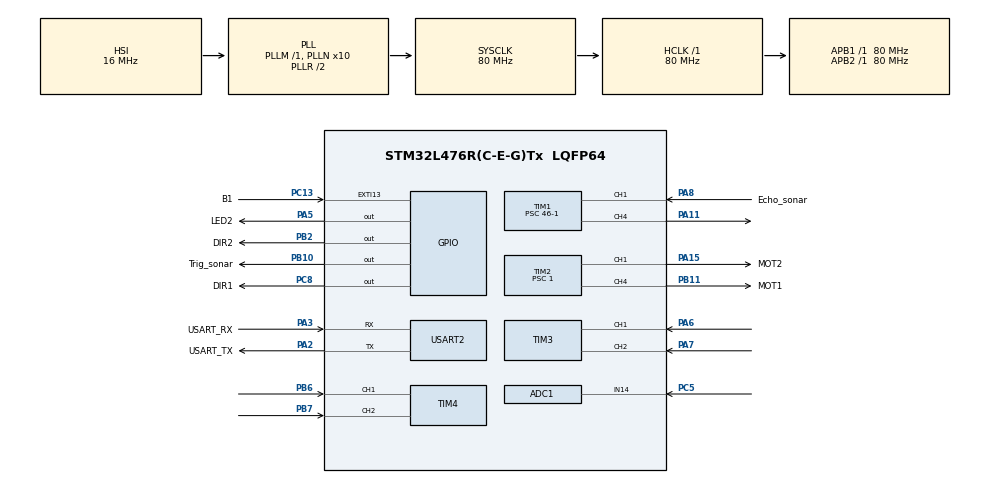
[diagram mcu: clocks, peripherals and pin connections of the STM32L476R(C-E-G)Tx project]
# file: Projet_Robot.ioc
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ADC1.Channel-1\#ChannelRegularConversion=ADC_CHANNEL_14
ADC1.NbrOfConversionFlag=1
ADC1.OffsetNumber-1\#ChannelRegularConversion=ADC_OFFSET_NONE
ADC1.Rank-1\#ChannelRegularConversion=1
ADC1.SamplingTime-1\#ChannelRegularConversion=ADC_SAMPLETIME_2CYCLES_5
ADC1.master=1
Mcu.Family=STM32L4
Mcu.Name=STM32L476R(C-E-G)Tx
Mcu.Package=LQFP64
NVIC.ADC1_2_IRQn=true\:0\:0\:false\:false\:true\:true\:true\:true
NVIC.EXTI15_10_IRQn=true\:0\:0\:false\:false\:true\:true\:true\:true
NVIC.PriorityGroup=NVIC_PRIORITYGROUP_4
NVIC.TIM1_CC_IRQn=true\:0\:0\:false\:false\:true\:true\:true\:true
NVIC.TIM6_DAC_IRQn=true\:0\:0\:false\:false\:true\:true\:true\:true
PA11.Signal=S_TIM1_CH4
PA13\ (JTMS-SWDIO).GPIO_Label=TMS
PA13\ (JTMS-SWDIO).Mode=Serial_Wire
PA13\ (JTMS-SWDIO).Signal=SYS_JTMS-SWDIO
PA14\ (JTCK-SWCLK).GPIO_Label=TCK
PA14\ (JTCK-SWCLK).Mode=Serial_Wire
PA14\ (JTCK-SWCLK).Signal=SYS_JTCK-SWCLK
PA15\ (JTDI).GPIO_Label=MOT2
PA15\ (JTDI).Signal=S_TIM2_CH1
PA2.GPIO_Label=USART_TX
PA2.GPIO_Mode=GPIO_MODE_AF_PP
PA2.GPIO_PuPd=GPIO_NOPULL
PA2.GPIO_Speed=GPIO_SPEED_FREQ_VERY_HIGH
PA2.Mode=Asynchronous
PA2.Signal=USART2_TX
PA3.GPIO_Label=USART_RX
PA3.GPIO_Mode=GPIO_MODE_AF_PP
PA3.GPIO_PuPd=GPIO_NOPULL
PA3.GPIO_Speed=GPIO_SPEED_FREQ_VERY_HIGH
PA3.Mode=Asynchronous
PA3.Signal=USART2_RX
PA5.GPIO_Label=LED2 
PA5.GPIO_ModeDefaultOutputPP=GPIO_MODE_OUTPUT_PP
PA5.GPIO_PuPd=GPIO_NOPULL
PA5.GPIO_Speed=GPIO_SPEED_FREQ_LOW
PA5.Signal=GPIO_Output
PA6.Signal=S_TIM3_CH1
PA7.Signal=S_TIM3_CH2
PA8.GPIO_Label=Echo_sonar
PA8.Signal=S_TIM1_CH1
PB10.GPIO_Label=Trig_sonar
PB10.PinState=GPIO_PIN_SET
PB10.Signal=GPIO_Output
PB11.GPIO_Label=MOT1
PB11.Signal=S_TIM2_CH4
PB2.GPIO_Label=DIR2
PB2.Signal=GPIO_Output
PB3\ (JTDO-TRACESWO).GPIO_Label=SWO
PB3\ (JTDO-TRACESWO).Signal=SYS_JTDO-SWO
PB6.Signal=S_TIM4_CH1
PB7.Signal=S_TIM4_CH2
PC13.GPIO_Label=B1
PC13.GPIO_ModeDefaultEXTI=GPIO_MODE_IT_FALLING
PC13.GPIO_PuPd=GPIO_NOPULL
PC13.Signal=GPXTI13
PC14-OSC32_IN\ (PC14).Mode=LSE-External-Oscillator
PC14-OSC32_IN\ (PC14).Signal=RCC_OSC32_IN
PC15-OSC32_OUT\ (PC15).Mode=LSE-External-Oscillator
PC15-OSC32_OUT\ (PC15).Signal=RCC_OSC32_OUT
PC5.Signal=ADCx_IN14
PC8.GPIO_Label=DIR1
PC8.Signal=GPIO_Output
PH0-OSC_IN\ (PH0).Signal=RCC_OSC_IN
PH1-OSC_OUT\ (PH1).Signal=RCC_OSC_OUT
ProjectManager.HeapSize=0x200
ProjectManager.StackSize=0x400
ProjectManager.TargetToolchain=STM32CubeIDE
RCC.ADCFreq_Value=64000000
RCC.AHBFreq_Value=80000000
RCC.APB1Freq_Value=80000000
RCC.APB1TimFreq_Value=80000000
RCC.APB2Freq_Value=80000000
RCC.APB2TimFreq_Value=80000000
RCC.CortexFreq_Value=80000000
RCC.HCLKFreq_Value=80000000
RCC.HSE_VALUE=8000000
RCC.HSI_VALUE=16000000
RCC.MSI_VALUE=4000000
RCC.PLLN=10
RCC.PLLSourceVirtual=RCC_PLLSOURCE_HSI
RCC.PREFETCH_ENABLE=1
RCC.SYSCLKFreq_VALUE=80000000
RCC.SYSCLKSource=RCC_SYSCLKSOURCE_PLLCLK
RCC.USBFreq_Value=64000000
RCC.VCOOutputFreq_Value=160000000
SH.ADCx_IN14.0=ADC1_IN14,IN14-Single-Ended
SH.S_TIM1_CH1.0=TIM1_CH1,PWM_Input_1
SH.S_TIM1_CH4.0=TIM1_CH4,PWM Generation4 CH4
SH.S_TIM2_CH1.0=TIM2_CH1,PWM Generation1 CH1
SH.S_TIM2_CH4.0=TIM2_CH4,PWM Generation4 CH4
SH.S_TIM3_CH1.0=TIM3_CH1,Input_Capture1_from_TI1
SH.S_TIM3_CH2.0=TIM3_CH2,Input_Capture2_from_TI2
SH.S_TIM4_CH1.0=TIM4_CH1,Input_Capture1_from_TI1
SH.S_TIM4_CH2.0=TIM4_CH2,Input_Capture2_from_TI2
TIM1.Channel-PWM\ Generation4\ CH4=TIM_CHANNEL_4
TIM1.Prescaler=46-1
TIM2.Channel-PWM\ Generation1\ CH1=TIM_CHANNEL_1
TIM2.Channel-PWM\ Generation4\ CH4=TIM_CHANNEL_4
TIM2.Period=7999
TIM2.Prescaler=1
TIM3.Channel-Input_Capture1_from_TI1=TIM_CHANNEL_1
TIM3.Channel-Input_Capture2_from_TI2=TIM_CHANNEL_2
TIM4.Channel-Input_Capture1_from_TI1=TIM_CHANNEL_1
TIM4.Channel-Input_Capture2_from_TI2=TIM_CHANNEL_2
TIM6.Period=999
TIM6.Prescaler=7999
USART2.VirtualMode-Asynchronous=VM_ASYNC
VP_TIM1_VS_ClockSourceINT.Mode=Internal
VP_TIM2_VS_ClockSourceINT.Mode=Internal
VP_TIM6_VS_ClockSourceINT.Mode=Enable_Timer
board=NUCLEO-L476RG

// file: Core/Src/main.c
/* USER CODE BEGIN Header */
/**
  ******************************************************************************
  * @file           : main.c
  * @brief          : Main program body
  ******************************************************************************
  * @attention
  *
  * Copyright (c) 2024 STMicroelectronics.
  * All rights reserved.
  *
  * This software is licensed under terms that can be found in the LICENSE file
  * in the root directory of this software component.
  * If no LICENSE file comes with this software, it is provided AS-IS.
  *
  ******************************************************************************
  */
/* USER CODE END Header */
#include "main.h"

/* USER CODE BEGIN Includes */
#include "stdio.h"
#include "string.h"

/* USER CODE END Includes */

/* USER CODE BEGIN PD */
#define ADC_Max_Value 255
/* USER CODE END PD */

ADC_HandleTypeDef hadc1;

TIM_HandleTypeDef htim1;
TIM_HandleTypeDef htim2;
TIM_HandleTypeDef htim3;
TIM_HandleTypeDef htim4;
TIM_HandleTypeDef htim6;

UART_HandleTypeDef huart2;

/* USER CODE BEGIN PV */
volatile uint8_t T_batt = 0;
volatile uint8_t ADCValue;
volatile float batteryVoltage = 0.0f;
volatile uint8_t ADC_on = 0;
float Vbatt;
#define NB_CHAR 30
char msg[NB_CHAR];

volatile uint8_t battery_check_flag = 0;

volatile uint32_t ic_value1 = 0;
volatile uint32_t ic_value2 = 0;
volatile uint8_t is_first_capture = 0;
volatile float sonar_distance = 0.0;
volatile uint8_t sonar_read_flag = 0;
volatile uint32_t diff = 0;

volatile uint8_t commut = 0;

const float quantum = 8.0/256.0;

typedef enum {
    STATE_IDLE,
    STATE_TURNING,
    STATE_MOVING_TOWARDS_OBSTACLE
} RobotState;

volatile RobotState currentState = STATE_IDLE;

/* USER CODE END PV */

void SystemClock_Config(void);
static void MX_GPIO_Init(void);
static void MX_USART2_UART_Init(void);
static void MX_ADC1_Init(void);
static void MX_TIM1_Init(void);
static void MX_TIM2_Init(void);
static void MX_TIM3_Init(void);
static void MX_TIM4_Init(void);
static void MX_TIM6_Init(void);
/* USER CODE BEGIN PFP */

void HAL_TIM_IC_CaptureCallback(TIM_HandleTypeDef *htim);
float Read_Sonar_Distance(void);

void HAL_TIM_PeriodElapsedCallback(TIM_HandleTypeDef *htim);
void HAL_GPIO_EXTI_Callback(uint16_t GPIO_Pin);
void AlignWithObstacle(void);
void StartTurning(void);
void StopMotors(void);

//void HAL_ADC_LevelOutOfWindowCallback(ADC_HandleTypeDef *hadc1);
//void send_data_to_uart(float battery);
/* USER CODE END PFP */

int main(void)
{
  /* USER CODE BEGIN 1 */
	const float quantum = 8.0/256.0;

  /* USER CODE END 1 */

  /* MCU Configuration--------------------------------------------------------*/

  /* Reset of all peripherals, Initializes the Flash interface and the Systick. */
  HAL_Init();

  /* Configure the system clock */
  SystemClock_Config();

  /* Initialize all configured peripherals */
  MX_GPIO_Init();
  MX_USART2_UART_Init();
  MX_ADC1_Init();
  MX_TIM1_Init();
  MX_TIM2_Init();
  MX_TIM3_Init();
  MX_TIM4_Init();
  MX_TIM6_Init();
  /* USER CODE BEGIN 2 */

  HAL_TIM_Base_Start_IT(&htim6);
  HAL_TIM_IC_Start_IT(&htim1, TIM_CHANNEL_1); // Capture front montant
  HAL_TIM_IC_Start_IT(&htim1, TIM_CHANNEL_2); // Capture front descendant

  HAL_TIM_PWM_Start(&htim2, TIM_CHANNEL_1); // PWM pour MOT2 (gauche)
  HAL_TIM_PWM_Start(&htim2, TIM_CHANNEL_4); // PWM pour MOT1 (droit)

  HAL_GPIO_WritePin(GPIOB, GPIO_PIN_2, GPIO_PIN_SET); // DIR2
  HAL_GPIO_WritePin(GPIOC, GPIO_PIN_8, GPIO_PIN_SET); // DIR1

  __HAL_TIM_SET_COMPARE(&htim2, TIM_CHANNEL_1, 0); // Stop MOT2 (gauche)
  __HAL_TIM_SET_COMPARE(&htim2, TIM_CHANNEL_4, 0); // Stop MOT1 (droit)
  /*

  //moteur en marche
  HAL_TIM_PWM_Start(&htim2, TIM_CHANNEL_1); // PWM pour MOT2 (gauche)
  HAL_TIM_PWM_Start(&htim2, TIM_CHANNEL_4); // PWM pour MOT1 (droit)

  // Configurer les directions des moteurs pour avancer
  HAL_GPIO_WritePin(GPIOB, GPIO_PIN_2, GPIO_PIN_SET); // DIR2
  HAL_GPIO_WritePin(GPIOC, GPIO_PIN_8, GPIO_PIN_SET); // DIR1

  // Configurer le rapport cyclique (duty cycle) pour les moteurs
  //avec ces valeur j'ai exacement 20cm/s, il faut prendre en compte les valeurs PR = 15  et ARR = 1000
  __HAL_TIM_SET_COMPARE(&htim2, TIM_CHANNEL_1, 19000);	//Moteur gauche
  __HAL_TIM_SET_COMPARE(&htim2, TIM_CHANNEL_4, 15000); //moteur droit

*/
  /* USER CODE END 2 */

  /* Infinite loop */
  /* USER CODE BEGIN WHILE */
  while (1)
    {
	  switch (currentState)
	      {
	          case STATE_TURNING:
	              if (sonar_read_flag)
	              {
	                  sonar_read_flag = 0;
	                  float distance = Read_Sonar_Distance();
	                  if (distance <= 300.0)
	                  {
	                      StopMotors();
	                      AlignWithObstacle();
	                      currentState = STATE_MOVING_TOWARDS_OBSTACLE;
	                  }
	              }
	              break;

	          case STATE_MOVING_TOWARDS_OBSTACLE:
	              if (sonar_read_flag)
	              {
	                  sonar_read_flag = 0;
	                  float distance = Read_Sonar_Distance();
	                  if (distance <= 40.0)
	                  {
	                      StopMotors();
	                      printf("Arrêt à 20 cm de l'obstacle\n");
	                      commut = 0; // Arrêter le robot
	                      currentState = STATE_IDLE;
	                  }
	              }
	              break;

	          case STATE_IDLE:
	          default:
	              // Do nothing
	              break;
	      }

	      // Surveillance de la batterie
	      if (battery_check_flag)
	      {
	          battery_check_flag = 0;
	          HAL_ADC_Start_IT(&hadc1);
	      }

	      if (ADC_on == 1)
	      {
	          ADC_on = 0;
	          ADCValue = HAL_ADC_GetValue(&hadc1);
	          Vbatt = (float)ADCValue * quantum;

	          #ifdef DEBUG
	          sprintf(msg, "Vbatt : %f V\r\n", Vbatt);
	          HAL_UART_Transmit(&huart2, (uint8_t *)msg, strlen(msg), HAL_MAX_DELAY);
	          #endif

	          if (ADCValue > 231)
	          {
	              HAL_GPIO_WritePin(LED2_GPIO_Port, LED2_Pin, GPIO_PIN_RESET);
	          }
	          else
	          {
	              HAL_GPIO_WritePin(LED2_GPIO_Port, LED2_Pin, GPIO_PIN_SET);
	          }
	      }

    /* USER CODE END WHILE */

}
}

void SystemClock_Config(void)
{
  RCC_OscInitTypeDef RCC_OscInitStruct = {0};
  RCC_ClkInitTypeDef RCC_ClkInitStruct = {0};

  /** Configure the main internal regulator output voltage
  */
  if (HAL_PWREx_ControlVoltageScaling(PWR_REGULATOR_VOLTAGE_SCALE1) != HAL_OK)
  {
    Error_Handler();
  }

  /** Initializes the RCC Oscillators according to the specified parameters
  * in the RCC_OscInitTypeDef structure.
  */
  RCC_OscInitStruct.OscillatorType = RCC_OSCILLATORTYPE_HSI;
  RCC_OscInitStruct.HSIState = RCC_HSI_ON;
  RCC_OscInitStruct.HSICalibrationValue = RCC_HSICALIBRATION_DEFAULT;
  RCC_OscInitStruct.PLL.PLLState = RCC_PLL_ON;
  RCC_OscInitStruct.PLL.PLLSource = RCC_PLLSOURCE_HSI;
  RCC_OscInitStruct.PLL.PLLM = 1;
  RCC_OscInitStruct.PLL.PLLN = 10;
  RCC_OscInitStruct.PLL.PLLP = RCC_PLLP_DIV7;
  RCC_OscInitStruct.PLL.PLLQ = RCC_PLLQ_DIV2;
  RCC_OscInitStruct.PLL.PLLR = RCC_PLLR_DIV2;
  if (HAL_RCC_OscConfig(&RCC_OscInitStruct) != HAL_OK)
  {
    Error_Handler();
  }

  /** Initializes the CPU, AHB and APB buses clocks
  */
  RCC_ClkInitStruct.ClockType = RCC_CLOCKTYPE_HCLK|RCC_CLOCKTYPE_SYSCLK
                              |RCC_CLOCKTYPE_PCLK1|RCC_CLOCKTYPE_PCLK2;
  RCC_ClkInitStruct.SYSCLKSource = RCC_SYSCLKSOURCE_PLLCLK;
  RCC_ClkInitStruct.AHBCLKDivider = RCC_SYSCLK_DIV1;
  RCC_ClkInitStruct.APB1CLKDivider = RCC_HCLK_DIV1;
  RCC_ClkInitStruct.APB2CLKDivider = RCC_HCLK_DIV1;

  if (HAL_RCC_ClockConfig(&RCC_ClkInitStruct, FLASH_LATENCY_4) != HAL_OK)
  {
    Error_Handler();
  }
}

static void MX_ADC1_Init(void)
{

  ADC_MultiModeTypeDef multimode = {0};
  ADC_ChannelConfTypeDef sConfig = {0};

  /** Common config
  */
  hadc1.Instance = ADC1;
  hadc1.Init.ClockPrescaler = ADC_CLOCK_ASYNC_DIV1;
  hadc1.Init.Resolution = ADC_RESOLUTION_12B;
  hadc1.Init.DataAlign = ADC_DATAALIGN_RIGHT;
  hadc1.Init.ScanConvMode = ADC_SCAN_DISABLE;
  hadc1.Init.EOCSelection = ADC_EOC_SINGLE_CONV;
  hadc1.Init.LowPowerAutoWait = DISABLE;
  hadc1.Init.ContinuousConvMode = DISABLE;
  hadc1.Init.NbrOfConversion = 1;
  hadc1.Init.DiscontinuousConvMode = DISABLE;
  hadc1.Init.ExternalTrigConv = ADC_SOFTWARE_START;
  hadc1.Init.ExternalTrigConvEdge = ADC_EXTERNALTRIGCONVEDGE_NONE;
  hadc1.Init.DMAContinuousRequests = DISABLE;
  hadc1.Init.Overrun = ADC_OVR_DATA_PRESERVED;
  hadc1.Init.OversamplingMode = DISABLE;
  if (HAL_ADC_Init(&hadc1) != HAL_OK)
  {
    Error_Handler();
  }

  /** Configure the ADC multi-mode
  */
  multimode.Mode = ADC_MODE_INDEPENDENT;
  if (HAL_ADCEx_MultiModeConfigChannel(&hadc1, &multimode) != HAL_OK)
  {
    Error_Handler();
  }

  /** Configure Regular Channel
  */
  sConfig.Channel = ADC_CHANNEL_14;
  sConfig.Rank = ADC_REGULAR_RANK_1;
  sConfig.SamplingTime = ADC_SAMPLETIME_2CYCLES_5;
  sConfig.SingleDiff = ADC_SINGLE_ENDED;
  sConfig.OffsetNumber = ADC_OFFSET_NONE;
  sConfig.Offset = 0;
  if (HAL_ADC_ConfigChannel(&hadc1, &sConfig) != HAL_OK)
  {
    Error_Handler();
  }

}

static void MX_TIM1_Init(void)
{

  TIM_ClockConfigTypeDef sClockSourceConfig = {0};
  TIM_SlaveConfigTypeDef sSlaveConfig = {0};
  TIM_IC_InitTypeDef sConfigIC = {0};
  TIM_MasterConfigTypeDef sMasterConfig = {0};
  TIM_OC_InitTypeDef sConfigOC = {0};
  TIM_BreakDeadTimeConfigTypeDef sBreakDeadTimeConfig = {0};

  htim1.Instance = TIM1;
  htim1.Init.Prescaler = 46-1;
  htim1.Init.CounterMode = TIM_COUNTERMODE_UP;
  htim1.Init.Period = 65535;
  htim1.Init.ClockDivision = TIM_CLOCKDIVISION_DIV1;
  htim1.Init.RepetitionCounter = 0;
  htim1.Init.AutoReloadPreload = TIM_AUTORELOAD_PRELOAD_DISABLE;
  if (HAL_TIM_Base_Init(&htim1) != HAL_OK)
  {
    Error_Handler();
  }
  sClockSourceConfig.ClockSource = TIM_CLOCKSOURCE_INTERNAL;
  if (HAL_TIM_ConfigClockSource(&htim1, &sClockSourceConfig) != HAL_OK)
  {
    Error_Handler();
  }
  if (HAL_TIM_PWM_Init(&htim1) != HAL_OK)
  {
    Error_Handler();
  }
  if (HAL_TIM_IC_Init(&htim1) != HAL_OK)
  {
    Error_Handler();
  }
  sSlaveConfig.SlaveMode = TIM_SLAVEMODE_RESET;
  sSlaveConfig.InputTrigger = TIM_TS_TI1FP1;
  sSlaveConfig.TriggerPolarity = TIM_INPUTCHANNELPOLARITY_RISING;
  sSlaveConfig.TriggerPrescaler = TIM_ICPSC_DIV1;
  sSlaveConfig.TriggerFilter = 0;
  if (HAL_TIM_SlaveConfigSynchro(&htim1, &sSlaveConfig) != HAL_OK)
  {
    Error_Handler();
  }
  sConfigIC.ICPolarity = TIM_INPUTCHANNELPOLARITY_RISING;
  sConfigIC.ICSelection = TIM_ICSELECTION_DIRECTTI;
  sConfigIC.ICPrescaler = TIM_ICPSC_DIV1;
  sConfigIC.ICFilter = 0;
  if (HAL_TIM_IC_ConfigChannel(&htim1, &sConfigIC, TIM_CHANNEL_1) != HAL_OK)
  {
    Error_Handler();
  }
  sConfigIC.ICPolarity = TIM_INPUTCHANNELPOLARITY_FALLING;
  sConfigIC.ICSelection = TIM_ICSELECTION_INDIRECTTI;
  if (HAL_TIM_IC_ConfigChannel(&htim1, &sConfigIC, TIM_CHANNEL_2) != HAL_OK)
  {
    Error_Handler();
  }
  sMasterConfig.MasterOutputTrigger = TIM_TRGO_RESET;
  sMasterConfig.MasterOutputTrigger2 = TIM_TRGO2_RESET;
  sMasterConfig.MasterSlaveMode = TIM_MASTERSLAVEMODE_DISABLE;
  if (HAL_TIMEx_MasterConfigSynchronization(&htim1, &sMasterConfig) != HAL_OK)
  {
    Error_Handler();
  }
  sConfigOC.OCMode = TIM_OCMODE_PWM1;
  sConfigOC.Pulse = 0;
  sConfigOC.OCPolarity = TIM_OCPOLARITY_HIGH;
  sConfigOC.OCFastMode = TIM_OCFAST_DISABLE;
  sConfigOC.OCIdleState = TIM_OCIDLESTATE_RESET;
  sConfigOC.OCNIdleState = TIM_OCNIDLESTATE_RESET;
  if (HAL_TIM_PWM_ConfigChannel(&htim1, &sConfigOC, TIM_CHANNEL_4) != HAL_OK)
  {
    Error_Handler();
  }
  sBreakDeadTimeConfig.OffStateRunMode = TIM_OSSR_DISABLE;
  sBreakDeadTimeConfig.OffStateIDLEMode = TIM_OSSI_DISABLE;
  sBreakDeadTimeConfig.LockLevel = TIM_LOCKLEVEL_OFF;
  sBreakDeadTimeConfig.DeadTime = 0;
  sBreakDeadTimeConfig.BreakState = TIM_BREAK_DISABLE;
  sBreakDeadTimeConfig.BreakPolarity = TIM_BREAKPOLARITY_HIGH;
  sBreakDeadTimeConfig.BreakFilter = 0;
  sBreakDeadTimeConfig.Break2State = TIM_BREAK2_DISABLE;
  sBreakDeadTimeConfig.Break2Polarity = TIM_BREAK2POLARITY_HIGH;
  sBreakDeadTimeConfig.Break2Filter = 0;
  sBreakDeadTimeConfig.AutomaticOutput = TIM_AUTOMATICOUTPUT_DISABLE;
  if (HAL_TIMEx_ConfigBreakDeadTime(&htim1, &sBreakDeadTimeConfig) != HAL_OK)
  {
    Error_Handler();
  }
  HAL_TIM_MspPostInit(&htim1);

}

static void MX_TIM2_Init(void)
{

  TIM_ClockConfigTypeDef sClockSourceConfig = {0};
  TIM_MasterConfigTypeDef sMasterConfig = {0};
  TIM_OC_InitTypeDef sConfigOC = {0};

  htim2.Instance = TIM2;
  htim2.Init.Prescaler = 1;
  htim2.Init.CounterMode = TIM_COUNTERMODE_UP;
  htim2.Init.Period = 7999;
  htim2.Init.ClockDivision = TIM_CLOCKDIVISION_DIV1;
  htim2.Init.AutoReloadPreload = TIM_AUTORELOAD_PRELOAD_DISABLE;
  if (HAL_TIM_Base_Init(&htim2) != HAL_OK)
  {
    Error_Handler();
  }
  sClockSourceConfig.ClockSource = TIM_CLOCKSOURCE_INTERNAL;
  if (HAL_TIM_ConfigClockSource(&htim2, &sClockSourceConfig) != HAL_OK)
  {
    Error_Handler();
  }
  if (HAL_TIM_PWM_Init(&htim2) != HAL_OK)
  {
    Error_Handler();
  }
  sMasterConfig.MasterOutputTrigger = TIM_TRGO_RESET;
  sMasterConfig.MasterSlaveMode = TIM_MASTERSLAVEMODE_DISABLE;
  if (HAL_TIMEx_MasterConfigSynchronization(&htim2, &sMasterConfig) != HAL_OK)
  {
    Error_Handler();
  }
  sConfigOC.OCMode = TIM_OCMODE_PWM1;
  sConfigOC.Pulse = 0;
  sConfigOC.OCPolarity = TIM_OCPOLARITY_HIGH;
  sConfigOC.OCFastMode = TIM_OCFAST_DISABLE;
  if (HAL_TIM_PWM_ConfigChannel(&htim2, &sConfigOC, TIM_CHANNEL_1) != HAL_OK)
  {
    Error_Handler();
  }
  if (HAL_TIM_PWM_ConfigChannel(&htim2, &sConfigOC, TIM_CHANNEL_4) != HAL_OK)
  {
    Error_Handler();
  }
  HAL_TIM_MspPostInit(&htim2);

}

static void MX_TIM3_Init(void)
{

  TIM_MasterConfigTypeDef sMasterConfig = {0};
  TIM_IC_InitTypeDef sConfigIC = {0};

  htim3.Instance = TIM3;
  htim3.Init.Prescaler = 0;
  htim3.Init.CounterMode = TIM_COUNTERMODE_UP;
  htim3.Init.Period = 65535;
  htim3.Init.ClockDivision = TIM_CLOCKDIVISION_DIV1;
  htim3.Init.AutoReloadPreload = TIM_AUTORELOAD_PRELOAD_DISABLE;
  if (HAL_TIM_IC_Init(&htim3) != HAL_OK)
  {
    Error_Handler();
  }
  sMasterConfig.MasterOutputTrigger = TIM_TRGO_RESET;
  sMasterConfig.MasterSlaveMode = TIM_MASTERSLAVEMODE_DISABLE;
  if (HAL_TIMEx_MasterConfigSynchronization(&htim3, &sMasterConfig) != HAL_OK)
  {
    Error_Handler();
  }
  sConfigIC.ICPolarity = TIM_INPUTCHANNELPOLARITY_RISING;
  sConfigIC.ICSelection = TIM_ICSELECTION_DIRECTTI;
  sConfigIC.ICPrescaler = TIM_ICPSC_DIV1;
  sConfigIC.ICFilter = 0;
  if (HAL_TIM_IC_ConfigChannel(&htim3, &sConfigIC, TIM_CHANNEL_1) != HAL_OK)
  {
    Error_Handler();
  }
  if (HAL_TIM_IC_ConfigChannel(&htim3, &sConfigIC, TIM_CHANNEL_2) != HAL_OK)
  {
    Error_Handler();
  }

}

static void MX_TIM4_Init(void)
{

  TIM_MasterConfigTypeDef sMasterConfig = {0};
  TIM_IC_InitTypeDef sConfigIC = {0};

  htim4.Instance = TIM4;
  htim4.Init.Prescaler = 0;
  htim4.Init.CounterMode = TIM_COUNTERMODE_UP;
  htim4.Init.Period = 65535;
  htim4.Init.ClockDivision = TIM_CLOCKDIVISION_DIV1;
  htim4.Init.AutoReloadPreload = TIM_AUTORELOAD_PRELOAD_DISABLE;
  if (HAL_TIM_IC_Init(&htim4) != HAL_OK)
  {
    Error_Handler();
  }
  sMasterConfig.MasterOutputTrigger = TIM_TRGO_RESET;
  sMasterConfig.MasterSlaveMode = TIM_MASTERSLAVEMODE_DISABLE;
  if (HAL_TIMEx_MasterConfigSynchronization(&htim4, &sMasterConfig) != HAL_OK)
  {
    Error_Handler();
  }
  sConfigIC.ICPolarity = TIM_INPUTCHANNELPOLARITY_RISING;
  sConfigIC.ICSelection = TIM_ICSELECTION_DIRECTTI;
  sConfigIC.ICPrescaler = TIM_ICPSC_DIV1;
  sConfigIC.ICFilter = 0;
  if (HAL_TIM_IC_ConfigChannel(&htim4, &sConfigIC, TIM_CHANNEL_1) != HAL_OK)
  {
    Error_Handler();
  }
  if (HAL_TIM_IC_ConfigChannel(&htim4, &sConfigIC, TIM_CHANNEL_2) != HAL_OK)
  {
    Error_Handler();
  }

}

static void MX_TIM6_Init(void)
{

  TIM_MasterConfigTypeDef sMasterConfig = {0};

  htim6.Instance = TIM6;
  htim6.Init.Prescaler = 7999;
  htim6.Init.CounterMode = TIM_COUNTERMODE_UP;
  htim6.Init.Period = 999;
  htim6.Init.AutoReloadPreload = TIM_AUTORELOAD_PRELOAD_DISABLE;
  if (HAL_TIM_Base_Init(&htim6) != HAL_OK)
  {
    Error_Handler();
  }
  sMasterConfig.MasterOutputTrigger = TIM_TRGO_RESET;
  sMasterConfig.MasterSlaveMode = TIM_MASTERSLAVEMODE_DISABLE;
  if (HAL_TIMEx_MasterConfigSynchronization(&htim6, &sMasterConfig) != HAL_OK)
  {
    Error_Handler();
  }

}

static void MX_USART2_UART_Init(void)
{

  huart2.Instance = USART2;
  huart2.Init.BaudRate = 115200;
  huart2.Init.WordLength = UART_WORDLENGTH_8B;
  huart2.Init.StopBits = UART_STOPBITS_1;
  huart2.Init.Parity = UART_PARITY_NONE;
  huart2.Init.Mode = UART_MODE_TX_RX;
  huart2.Init.HwFlowCtl = UART_HWCONTROL_NONE;
  huart2.Init.OverSampling = UART_OVERSAMPLING_16;
  huart2.Init.OneBitSampling = UART_ONE_BIT_SAMPLE_DISABLE;
  huart2.AdvancedInit.AdvFeatureInit = UART_ADVFEATURE_NO_INIT;
  if (HAL_UART_Init(&huart2) != HAL_OK)
  {
    Error_Handler();
  }

}

static void MX_GPIO_Init(void)
{
  GPIO_InitTypeDef GPIO_InitStruct = {0};

  /* GPIO Ports Clock Enable */
  __HAL_RCC_GPIOC_CLK_ENABLE();
  __HAL_RCC_GPIOH_CLK_ENABLE();
  __HAL_RCC_GPIOA_CLK_ENABLE();
  __HAL_RCC_GPIOB_CLK_ENABLE();

  /*Configure GPIO pin Output Level */
  HAL_GPIO_WritePin(LED2_GPIO_Port, LED2_Pin, GPIO_PIN_RESET);

  /*Configure GPIO pin Output Level */
  HAL_GPIO_WritePin(DIR2_GPIO_Port, DIR2_Pin, GPIO_PIN_RESET);

  /*Configure GPIO pin Output Level */
  HAL_GPIO_WritePin(Trig_sonar_GPIO_Port, Trig_sonar_Pin, GPIO_PIN_SET);

  /*Configure GPIO pin Output Level */
  HAL_GPIO_WritePin(DIR1_GPIO_Port, DIR1_Pin, GPIO_PIN_RESET);

  /*Configure GPIO pin : B1_Pin */
  GPIO_InitStruct.Pin = B1_Pin;
  GPIO_InitStruct.Mode = GPIO_MODE_IT_FALLING;
  GPIO_InitStruct.Pull = GPIO_NOPULL;
  HAL_GPIO_Init(B1_GPIO_Port, &GPIO_InitStruct);

  /*Configure GPIO pin : LED2_Pin */
  GPIO_InitStruct.Pin = LED2_Pin;
  GPIO_InitStruct.Mode = GPIO_MODE_OUTPUT_PP;
  GPIO_InitStruct.Pull = GPIO_NOPULL;
  GPIO_InitStruct.Speed = GPIO_SPEED_FREQ_LOW;
  HAL_GPIO_Init(LED2_GPIO_Port, &GPIO_InitStruct);

  /*Configure GPIO pins : DIR2_Pin Trig_sonar_Pin */
  GPIO_InitStruct.Pin = DIR2_Pin|Trig_sonar_Pin;
  GPIO_InitStruct.Mode = GPIO_MODE_OUTPUT_PP;
  GPIO_InitStruct.Pull = GPIO_NOPULL;
  GPIO_InitStruct.Speed = GPIO_SPEED_FREQ_LOW;
  HAL_GPIO_Init(GPIOB, &GPIO_InitStruct);

  /*Configure GPIO pin : DIR1_Pin */
  GPIO_InitStruct.Pin = DIR1_Pin;
  GPIO_InitStruct.Mode = GPIO_MODE_OUTPUT_PP;
  GPIO_InitStruct.Pull = GPIO_NOPULL;
  GPIO_InitStruct.Speed = GPIO_SPEED_FREQ_LOW;
  HAL_GPIO_Init(DIR1_GPIO_Port, &GPIO_InitStruct);

  /* EXTI interrupt init*/
  HAL_NVIC_SetPriority(EXTI15_10_IRQn, 0, 0);
  HAL_NVIC_EnableIRQ(EXTI15_10_IRQn);

}

/* USER CODE BEGIN 4 */

void StartTurning(void)
{
    // Code pour faire tourner le robot sur place
    HAL_GPIO_WritePin(GPIOB, GPIO_PIN_2, GPIO_PIN_SET); // DIR2 dans un sens
    HAL_GPIO_WritePin(GPIOC, GPIO_PIN_8, GPIO_PIN_RESET); // DIR1 dans l'autre sens
    __HAL_TIM_SET_COMPARE(&htim2, TIM_CHANNEL_1, 3000); // PWM pour MOT2 (gauche)
    __HAL_TIM_SET_COMPARE(&htim2, TIM_CHANNEL_4, 3000); // PWM pour MOT1 (droit)
}

void StopMotors(void)
{
    __HAL_TIM_SET_COMPARE(&htim2, TIM_CHANNEL_1, 0); // Stop MOT2 (gauche)
    __HAL_TIM_SET_COMPARE(&htim2, TIM_CHANNEL_4, 0); // Stop MOT1 (droit)
    HAL_GPIO_WritePin(GPIOB, GPIO_PIN_2, GPIO_PIN_RESET); // DIR2
    HAL_GPIO_WritePin(GPIOC, GPIO_PIN_8, GPIO_PIN_RESET); // DIR1
}

void AlignWithObstacle(void)
{
    // Code pour aligner le robot avec l'obstacle et avancer
    HAL_GPIO_WritePin(GPIOB, GPIO_PIN_2, GPIO_PIN_SET); // DIR2 en avant
    HAL_GPIO_WritePin(GPIOC, GPIO_PIN_8, GPIO_PIN_SET); // DIR1 en avant
    __HAL_TIM_SET_COMPARE(&htim2, TIM_CHANNEL_1, 5279); // PWM pour MOT2 (gauche)
    __HAL_TIM_SET_COMPARE(&htim2, TIM_CHANNEL_4, 5279); // PWM pour MOT1 (droit)
}

void HAL_GPIO_EXTI_Callback(uint16_t GPIO_Pin)
{
    if (GPIO_Pin == GPIO_PIN_13)
    {
        printf("Bouton poussoir appuyé\n");
        commut = !commut;
        if (commut)
        {
            printf("Robot démarré\n");
            currentState = STATE_TURNING;
            StartTurning();
        }
        else
        {
            printf("Robot arrêté\n");
            StopMotors();
            currentState = STATE_IDLE;
        }
    }
}

void HAL_TIM_PeriodElapsedCallback(TIM_HandleTypeDef *htim)
{
  if (htim->Instance == TIM6)  // Vérifiez si c'est le Timer 6
  {
    T_batt++;
    sonar_read_flag = 1;  // Lire la distance du sonar toutes les 100 ms

    if (T_batt >= 50) // 50 * 100 ms = 5 secondes
    {
        T_batt = 0;
        battery_check_flag = 1;
    }
  }
}

void HAL_TIM_IC_CaptureCallback(TIM_HandleTypeDef *htim)
{
	 if (htim ->Channel ==HAL_TIM_ACTIVE_CHANNEL_2)
	 {
		 ic_value1 = HAL_TIM_ReadCapturedValue(&htim1, TIM_CHANNEL_2);

		 sonar_distance = ic_value1/101; // donc D en cm
	 }
}

float Read_Sonar_Distance(void)
{
  return sonar_distance;
}

void HAL_ADC_ConvCpltCallback(ADC_HandleTypeDef *hadc)
{
	if (hadc->Instance == ADC1)
	{
		ADC_on = 1;
	}
}
/* USER CODE END 4 */

void Error_Handler(void)
{
  __disable_irq();
  while (1)
  {
  }
}
